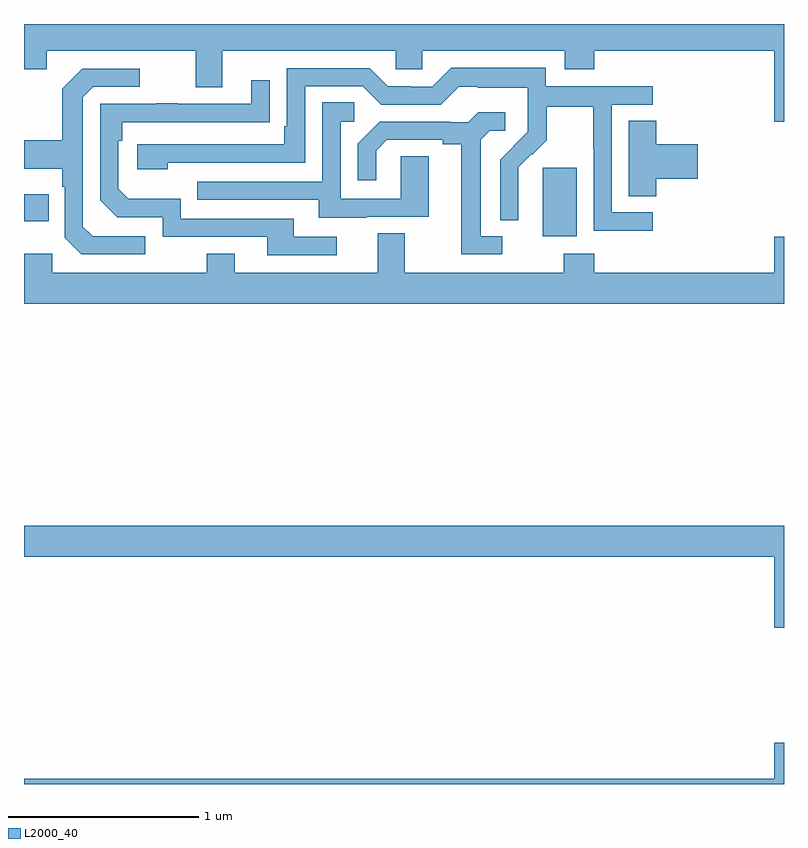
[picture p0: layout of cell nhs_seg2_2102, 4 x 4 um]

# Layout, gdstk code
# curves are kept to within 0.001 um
import gdstk
lib = gdstk.Library(unit=1e-6, precision=1e-09)
def R(c, l, rs):  # rectangles x0, y0, x1, y1
    for r in rs: c.add(gdstk.rectangle(r[:2], r[2:], *l))
def P(c, l, *ps):  # polygons
    for p in ps: c.add(gdstk.Polygon(p, *l))
L2000_40 = (2000, 40)

nhs_seg2_2102 = lib.new_cell('nhs_seg2_2102')
R(nhs_seg2_2102, L2000_40, [(223.73,622.682,223.909,623.043), (221,622.763,221.129,622.903)])
P(nhs_seg2_2102, L2000_40, [(225,623.8),(221,623.8),(221,623.561),(221.119,623.561),(221.119,623.66),(221.903,623.66),(221.903,623.466),(222.043,623.466),(222.043,623.66),(222.957,623.66),(222.957,623.562),(223.095,623.562),(223.095,623.66),(223.847,623.66),(223.847,623.561),(224,623.561),(224,623.66),(224.948,623.66),(224.948,623.286),(225,623.286)],
  [(224.308,622.809),(224.094,622.809),(224.094,623.376),(224.308,623.376),(224.308,623.472),(223.746,623.472),(223.746,623.569),(223.249,623.569),(223.149,623.469),(223.034,623.469),(223.034,623.472),(222.915,623.472),(222.819,623.568),(222.384,623.568),(222.384,623.263),(222.371,623.263),(222.371,623.166),(221.595,623.166),(221.595,623.036),(221.756,623.036),(221.756,623.07),(222.48,623.07),(222.48,623.472),(222.783,623.472),(222.879,623.376),(223.194,623.376),(223.287,623.469),(223.387,623.469),(223.387,623.465),(223.65,623.465),(223.65,623.331),(223.652,623.331),(223.652,623.234),(223.506,623.086),(223.506,622.768),(223.602,622.768),(223.601,623.045),(223.671,623.115),(223.674,623.112),(223.751,623.189),(223.751,623.364),(223.996,623.364),(223.996,623.14),(223.998,623.14),(223.998,622.711),(224.308,622.711)],
  [(221.638,622.683),(221.361,622.683),(221.31,622.734),(221.31,623.415),(221.364,623.469),(221.608,623.469),(221.608,623.565),(221.307,623.565),(221.202,623.459),(221.202,623.187),(221,623.187),(221,623.039),(221.202,623.039),(221.202,622.943),(221.214,622.943),(221.214,622.674),(221.301,622.587),(221.638,622.587)],
  [(222.646,622.68),(222.421,622.68),(222.421,622.776),(221.826,622.776),(221.826,622.879),(221.549,622.879),(221.496,622.932),(221.496,623.186),(221.516,623.186),(221.516,623.283),(222.293,623.284),(222.293,623.503),(222.197,623.503),(222.197,623.379),(221.807,623.379),(221.807,623.384),(221.695,623.384),(221.695,623.379),(221.4,623.379),(221.4,622.872),(221.49,622.782),(221.73,622.782),(221.73,622.68),(222.281,622.68),(222.281,622.584),(222.646,622.584)],
  [(222.805,622.785),(223.129,622.785),(223.129,623.105),(222.984,623.105),(222.984,622.881),(222.666,622.881),(222.666,623.286),(222.739,623.286),(222.739,623.387),(222.57,623.387),(222.57,622.971),(221.911,622.971),(221.911,622.875),(222.551,622.875),(222.551,622.781),(222.805,622.781)],
  [(223.516,622.683),(223.405,622.683),(223.405,623.191),(223.452,623.238),(223.534,623.238),(223.534,623.335),(223.39,623.335),(223.338,623.283),(223.244,623.283),(223.244,623.286),(222.872,623.286),(222.756,623.17),(222.756,622.977),(222.853,622.977),(222.853,623.133),(222.91,623.19),(223.205,623.19),(223.205,623.168),(223.301,623.168),(223.301,622.587),(223.516,622.587)],
  [(224.327,622.985),(224.545,622.985),(224.545,623.168),(224.327,623.168),(224.327,623.291),(224.183,623.291),(224.183,622.894),(224.327,622.894)],
  [(225,622.681),(224.948,622.681),(224.948,622.492),(224,622.492),(224,622.591),(223.84,622.591),(223.84,622.492),(223.003,622.492),(223.003,622.7),(222.863,622.7),(222.863,622.492),(222.109,622.492),(222.109,622.591),(221.962,622.591),(221.962,622.492),(221.148,622.492),(221.148,622.591),(221.002,622.591),(221.002,622.492),(221,622.492),(221,622.328),(225,622.328)],
  [(225,621.16),(221,621.16),(221,620.996),(224.948,620.996),(224.948,620.622),(225,620.622)],
  [(225,620.017),(224.948,620.017),(224.948,619.828),(221,619.828),(221,619.8),(225,619.8)])

lib.write_gds('nhs_seg2_2102.gds')
